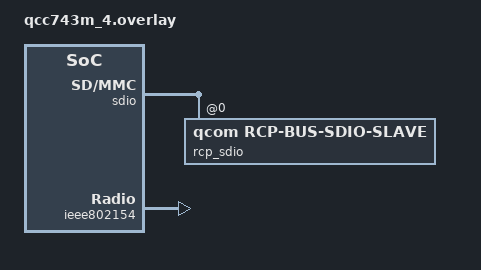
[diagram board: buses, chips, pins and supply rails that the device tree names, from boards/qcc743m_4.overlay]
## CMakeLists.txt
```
# Copyright (c) Qualcomm Technologies, Inc. and/or its subsidiaries.
# SPDX-License-Identifier: BSD-3-Clause-Clear

cmake_minimum_required(VERSION 3.20.0)

# Local rcp_protocol module
set(EXTRA_ZEPHYR_MODULES
    ${CMAKE_CURRENT_LIST_DIR}/../../../rcp_protocol
)

find_package(Zephyr REQUIRED HINTS $ENV{ZEPHYR_BASE})


project(rcp_app)

target_sources(app PRIVATE
    src/main.c
    src/vserial_shell.c
)

target_include_directories(app PRIVATE
    ${CMAKE_CURRENT_LIST_DIR}/../../drivers/qualcomm_rcp_vserial
)

if (CONFIG_QUALCOMM_RCP_APP_VSERIAL_LOG)
target_sources(app PRIVATE
    src/rcp_vserial_log_backend.c
)
endif()

if (CONFIG_BT)
target_sources(app PRIVATE
    src/proxy_bt.c
)
endif()

if (CONFIG_WIFI)
target_sources(app PRIVATE
    src/proxy_wifi_data.c
    src/proxy_wifi_mgmt.c
)

list(APPEND CMAKE_MODULE_PATH ${ZEPHYR_BASE}/modules/nanopb)
include(nanopb)

# Protobuf for RCP WiFi management
zephyr_nanopb_sources(app ${ZEPHYR_RCP_PROTOCOL_MODULE_DIR}/proto/wifi_mgmt.proto)

endif()

if ((NOT CONFIG_NET_DHCPV4) AND CONFIG_WIFI_OPAL)
target_sources(app PRIVATE
    src/dhcp_stub.c
)
endif()
```

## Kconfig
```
# Copyright (c) Qualcomm Technologies, Inc. and/or its subsidiaries.
# SPDX-License-Identifier: BSD-3-Clause-Clear

mainmenu "Qualcomm RCP application"

module = QUALCOMM_RCP_APP
module-str = qualcomm_rcp_app
source "subsys/logging/Kconfig.template.log_config"

source "Kconfig.zephyr"

config USE_DUMMY_WIFI_MGMT_DATA
    bool "Use dummy WiFi management data for unsupported requests"
    default n
    help
      Respond to WiFi management requests that are unsupported by the driver
      with dummy data for testing purposes.

config INCLUDE_TRANSPORT_TESTS
    bool "Include RCP transport tests for validation"
    default n
    help
    Include transport validation tests

config QUALCOMM_RCP_APP_VSERIAL_LOG
	bool "Mirror Zephyr logs to RCP VSerial stream"
	default n
	depends on LOG
	depends on QUALCOMM_RCP_VSERIAL_UART
	select LOG_OUTPUT
	help
	  Enable a minimal logging backend that forwards runtime LOG_* output
	  over RCP virtual serial. VSerial port 0 is reserved for log forwarding.

config QUALCOMM_RCP_APP_VSERIAL_LOG_PORT
	int "VSerial port used for log forwarding"
	range 0 3
	default 0
	depends on QUALCOMM_RCP_APP_VSERIAL_LOG
	help
	  RCP virtual serial port index used by the log backend.

config QUALCOMM_RCP_APP_VSERIAL_LOG_LINE_MAX
	int "Maximum formatted log chunk size"
	range 64 1024
	default 256
	depends on QUALCOMM_RCP_APP_VSERIAL_LOG
	help
	  Internal line buffer size used while formatting log messages for VSerial.

config QUALCOMM_RCP_APP_VSERIAL_LOG_DROP_WHEN_BUSY
	bool "Drop VSerial log output when link is congested"
	default y
	depends on QUALCOMM_RCP_APP_VSERIAL_LOG
	help
	  Use best-effort non-blocking log forwarding and drop log payload when
	  VSerial TX buffers are not immediately available.

config QUALCOMM_RCP_APP_VSERIAL_LOG_DUPLICATE_TO_PHYS_UART
	bool "Duplicate VSerial logs to physical UART console"
	default n
	depends on QUALCOMM_RCP_APP_VSERIAL_LOG
	help
	  If enabled, data emitted to the VSerial log backend is also mirrored to
	  the Zephyr console UART. Keep this disabled during initial bring-up.

config QUALCOMM_RCP_INIT_PRIORITY
	int "Init priority of RCP initialization"
	default 90
	help
	  Initialization priority of rcp_init() function. Can be used to ensure
	  correct order of initialization of RCP resources. RCP is initialized
	  at POST_KERNEL level.
```

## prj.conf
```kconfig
# Copyright (c) Qualcomm Technologies, Inc. and/or its subsidiaries.
# SPDX-License-Identifier: BSD-3-Clause-Clear

# Bluetooth disabled by default
CONFIG_BT=n

# WiFi co-processor configuration

# Generic networking options
CONFIG_NETWORKING=y
CONFIG_NET_UDP=n
CONFIG_NET_TCP=n
CONFIG_NET_IPV6=n
CONFIG_NET_IPV4=n
CONFIG_NET_MAX_CONTEXTS=5
CONFIG_NET_SOCKETS=y
CONFIG_POSIX_API=y
CONFIG_NET_CONTEXT_RCVTIMEO=y
CONFIG_NET_MGMT=y
CONFIG_NET_MGMT_EVENT=y
CONFIG_NET_SOCKETS_PACKET=y

CONFIG_NET_BUF_POOL_USAGE=y
CONFIG_NET_BUF_LOG=y

# Network thread stacks
CONFIG_NET_TX_STACK_SIZE=1024
CONFIG_NET_RX_STACK_SIZE=1024

# Kernel options
CONFIG_MAIN_STACK_SIZE=4096
CONFIG_SYSTEM_WORKQUEUE_STACK_SIZE=512
CONFIG_DYNAMIC_THREAD=y
CONFIG_DYNAMIC_THREAD_ALLOC=y
CONFIG_DYNAMIC_THREAD_PREFER_POOL=y
CONFIG_THREAD_RUNTIME_STATS=y
CONFIG_THREAD_RUNTIME_STATS_USE_TIMING_FUNCTIONS=y


# Compiler optimizations
CONFIG_DEBUG=y
CONFIG_DEBUG_OPTIMIZATIONS=n

# Compiler warning configuration
CONFIG_COMPILER_WARNINGS_AS_ERRORS=y

# Thread info & monitoring
CONFIG_THREAD_STACK_INFO=y
CONFIG_THREAD_MONITOR=y
CONFIG_THREAD_NAME=y
CONFIG_THREAD_CUSTOM_DATA=y
CONFIG_INIT_STACKS=y

# Heap
CONFIG_HEAP_MEM_POOL_SIZE=30720
CONFIG_SHARED_MULTI_HEAP=y

# Network buffers
CONFIG_NET_CONTEXT_NET_PKT_POOL=y
CONFIG_NET_PKT_RX_COUNT=16
CONFIG_NET_PKT_TX_COUNT=16
CONFIG_NET_BUF_RX_COUNT=16
CONFIG_NET_BUF_TX_COUNT=16
CONFIG_NET_BUF_DATA_SIZE=1514

# Logging
CONFIG_LOG=y
CONFIG_NET_LOG=y
CONFIG_NET_BUF_LOG=y
CONFIG_NET_STATISTICS=y
CONFIG_PRINTK=y

CONFIG_NET_SOCKETS_LOG_LEVEL_DBG=n
CONFIG_NET_CONTEXT_LOG_LEVEL_DBG=n
CONFIG_NET_CORE_LOG_LEVEL_DBG=n
CONFIG_NET_CONN_LOG_LEVEL_DBG=n
CONFIG_NET_IF_LOG_LEVEL_DBG=n
CONFIG_NET_L2_ETHERNET_LOG_LEVEL_DBG=n
CONFIG_ETHERNET_LOG_LEVEL_DBG=n
CONFIG_NET_PKT_LOG_LEVEL_ERR=n

CONFIG_QUALCOMM_RCP_BUS_LOG_LEVEL_DBG=n
CONFIG_QUALCOMM_RCP_PROTOCOL_LOG_LEVEL_DBG=n

# Shell
CONFIG_SHELL_STACK_SIZE=4096
CONFIG_KERNEL_SHELL=y
CONFIG_STATS=y
CONFIG_STATS_SHELL=y
CONFIG_THREAD_RUNTIME_STATS=y
CONFIG_THREAD_RUNTIME_STATS_USE_TIMING_FUNCTIONS=y

CONFIG_NET_SHELL=y
CONFIG_NET_L2_WIFI_SHELL=y
CONFIG_OPAL_WIFI_SHELL=n
CONFIG_NET_BUF_POOL_USAGE=y

# RCP protocol
CONFIG_QUALCOMM_RCP_PROTOCOL_NUM_BUFFERS=27
CONFIG_QUALCOMM_RCP_RCP_MAX_TX_EVENTS=24
# Suppress sequence number checks
CONFIG_QUALCOMM_RCP_SEQ_NUM_ACK_WINDOW=7
CONFIG_QUALCOMM_RCP_PROTOCOL_BUFFER_SIZE=1600
CONFIG_QUALCOMM_RCP_BUS_DRIVERS=y
# Optional single-channel VSerial log backend
CONFIG_QUALCOMM_RCP_APP_VSERIAL_LOG=y
CONFIG_QUALCOMM_RCP_APP_VSERIAL_LOG_PORT=0
CONFIG_QUALCOMM_RCP_APP_VSERIAL_LOG_LINE_MAX=256
CONFIG_QUALCOMM_RCP_APP_VSERIAL_LOG_DROP_WHEN_BUSY=y
CONFIG_QUALCOMM_RCP_APP_VSERIAL_LOG_DUPLICATE_TO_PHYS_UART=n
# Use dummy data for testing
CONFIG_USE_DUMMY_WIFI_MGMT_DATA=n
# Build transport test code
CONFIG_INCLUDE_TRANSPORT_TESTS=y

# Initalization order
CONFIG_QUALCOMM_RCP_INIT_PRIORITY=80
# Needs to be higher priority than NET_INIT_PRIO (90)
CONFIG_IEEE802154_OPAL_INIT_PRIO=89
CONFIG_QUALCOMM_RCP_VSERIAL_INIT_PRIORITY=85

# Keep deferred logging but trim RAM usage for qcc743 WiFi profile.
CONFIG_LOG_RUNTIME_FILTERING=n
CONFIG_LOG_PROCESS_THREAD_STACK_SIZE=2048
CONFIG_LOG_BUFFER_SIZE=1000
# WiFi & L2 drivers
CONFIG_WIFI=y
CONFIG_WIFI_OPAL=y
CONFIG_OPAL_WIFI_AP_STA_MODE=y
CONFIG_NET_L2_ETHERNET=y
CONFIG_ETH_DRIVER=y
CONFIG_ETH_PHY_DRIVER=y

# Management
CONFIG_WIFI_NM=y
CONFIG_WIFI_NM_MAX_MANAGED_INTERFACES=2
CONFIG_NET_MGMT_EVENT_QUEUE_SIZE=8
CONFIG_NET_MGMT_EVENT_STACK_SIZE=2560

# mbedTLS
CONFIG_ENTROPY_GENERATOR=y
CONFIG_MBEDTLS=y
CONFIG_MBEDTLS_TLS_VERSION_1_2=y
CONFIG_MBEDTLS_DTLS=y
CONFIG_MBEDTLS_SSL_ALPN=y
CONFIG_MBEDTLS_DEBUG=y
CONFIG_MBEDTLS_CIPHER_AES_ENABLED=y
CONFIG_MBEDTLS_CIPHER_CCM_ENABLED=y
CONFIG_MBEDTLS_CIPHER_GCM_ENABLED=y
CONFIG_MBEDTLS_CIPHER_MODE_CBC_ENABLED=y
CONFIG_MBEDTLS_CIPHER_MODE_CTR_ENABLED=y
CONFIG_MBEDTLS_CIPHER_DES_ENABLED=y
CONFIG_MBEDTLS_AES_ROM_TABLES=y
CONFIG_MBEDTLS_GENPRIME_ENABLED=y
CONFIG_MBEDTLS_DHM_C=y
CONFIG_MBEDTLS_HMAC_DRBG_ENABLED=y
CONFIG_MBEDTLS_CTR_DRBG_ENABLED=y
CONFIG_MBEDTLS_ENTROPY_C=y
CONFIG_MBEDTLS_MD=y
CONFIG_MBEDTLS_MD5=y
CONFIG_MBEDTLS_SHA1=y
CONFIG_MBEDTLS_SHA256=y
CONFIG_MBEDTLS_SHA512=y
CONFIG_MBEDTLS_CMAC=y
CONFIG_MBEDTLS_ECDH_C=y
CONFIG_MBEDTLS_ECDSA_C=y
CONFIG_MBEDTLS_ECP_C=y
CONFIG_MBEDTLS_ECP_DP_SECP256R1_ENABLED=y
CONFIG_MBEDTLS_ECP_NIST_OPTIM=y
CONFIG_MBEDTLS_KEY_EXCHANGE_PSK_ENABLED=y
CONFIG_MBEDTLS_KEY_EXCHANGE_RSA_ENABLED=y
CONFIG_MBEDTLS_KEY_EXCHANGE_RSA_PSK_ENABLED=y
CONFIG_MBEDTLS_KEY_EXCHANGE_DHE_RSA_ENABLED=y
CONFIG_MBEDTLS_KEY_EXCHANGE_DHE_PSK_ENABLED=y
CONFIG_MBEDTLS_KEY_EXCHANGE_ECDHE_RSA_ENABLED=y
CONFIG_MBEDTLS_KEY_EXCHANGE_ECDHE_ECDSA_ENABLED=y
CONFIG_MBEDTLS_KEY_EXCHANGE_ECDH_ECDSA_ENABLED=y
CONFIG_MBEDTLS_KEY_EXCHANGE_ECDH_RSA_ENABLED=y
CONFIG_MBEDTLS_KEY_EXCHANGE_ECDHE_PSK_ENABLED=y
CONFIG_MBEDTLS_PEM_CERTIFICATE_FORMAT=y

# RCP encryption and prerequisites.
# The PSA API algorithms will be automatically selected.
# By default only WiFi management messages are encrypted.
CONFIG_MBEDTLS_PSA_CRYPTO_C=y
CONFIG_QUALCOMM_RCP_ENCRYPTION=y

# Use hardware entropy
CONFIG_MBEDTLS_PSA_CRYPTO_EXTERNAL_RNG=y
CONFIG_ENTROPY_GENERATOR=y

# mbedTLS heap
CONFIG_MBEDTLS_ENABLE_HEAP=y
CONFIG_MBEDTLS_HEAP_SIZE=4096

# Nanopb
CONFIG_NANOPB=y
```

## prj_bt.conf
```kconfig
# Copyright (c) Qualcomm Technologies, Inc. and/or its subsidiaries.
# SPDX-License-Identifier: BSD-3-Clause-Clear

# Bluetooth HCI co-processor configuration
CONFIG_BT=y
CONFIG_BT_HCI_RAW=y
CONFIG_WIFI=n
CONFIG_WIFI_NM=n
CONFIG_QUALCOMM_RCP_ENCRYPTION=n
CONFIG_MBEDTLS_PSA_CRYPTO_C=n
CONFIG_QUALCOMM_RCP_APP_VSERIAL_LOG=n
```

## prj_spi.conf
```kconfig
# Copyright (c) Qualcomm Technologies, Inc. and/or its subsidiaries.
# SPDX-License-Identifier: BSD-3-Clause-Clear

CONFIG_SPI=y
CONFIG_SPI_OPAL=y
CONFIG_SPI_OPAL_DMA=y
CONFIG_SPI_SLAVE=y
CONFIG_QUALCOMM_RCP_DEFAULT_BUS_SPI=y
```

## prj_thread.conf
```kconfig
# Copyright (c) Qualcomm Technologies, Inc. and/or its subsidiaries.
# SPDX-License-Identifier: BSD-3-Clause-Clear

CONFIG_WIFI=n
CONFIG_WIFI_NM=n
CONFIG_QUALCOMM_RCP_ENCRYPTION=n
CONFIG_MBEDTLS_PSA_CRYPTO_C=n

CONFIG_NETWORKING=y
CONFIG_NET_L2_OPENTHREAD=y
CONFIG_NET_IPV6=y

# Disable certain parts of Zephyr IPv6 stack
CONFIG_NET_IPV6_NBR_CACHE=n
CONFIG_NET_IPV6_MLD=n

# Use NVS as settings backend
CONFIG_NVS=y

# Set OpenThread NCP architecture
CONFIG_OPENTHREAD_COPROCESSOR=y
CONFIG_OPENTHREAD_COPROCESSOR_RCP=y

CONFIG_NET_PKT_RX_COUNT=8
CONFIG_NET_PKT_TX_COUNT=8
```

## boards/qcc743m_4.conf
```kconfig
# Copyright (c) Qualcomm Technologies, Inc. and/or its subsidiaries.
# SPDX-License-Identifier: BSD-3-Clause-Clear

CONFIG_SDIO=y
CONFIG_SDIO_OPAL=y
```

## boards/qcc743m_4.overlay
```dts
/*
 * Copyright (c) 2025 Qualcomm Technologies, Inc. and/or its subsidiaries
 *
 * SPDX-License-Identifier: Apache-2.0
 */

&pinctrl {
    status = "okay";
    sdio_default: sdio_default {
        group1 {
			pinmux = <GPIO14_SDIO_DAT0>,
				<GPIO15_SDIO_DAT1>,
				<GPIO10_SDIO_DAT2>,
				<GPIO11_SDIO_DAT3>,
                <GPIO12_SDIO_CMD>,
                <GPIO13_SDIO_CLK>;
            bias-pull-up;
            drive-strength = <1>;
            input-enable;
            input-schmitt-enable;
        };
    };

    spi_default: spi_default {
        group1 {
            pinmux = <GPIO27_SPI_MOSI>,
                <GPIO28_SPI_SS>,
                <GPIO29_SPI_SCLK>,
                <GPIO30_SPI_MISO>;
            drive-strength = <1>;
            input-enable;
            input-schmitt-enable;
        };
    };
};

&sdio {
	status = "okay";
    pinctrl-0 = <&sdio_default>;
    pinctrl-names = "default";
    #address-cells = <1>;
    #size-cells = <0>;
    download-size-max = <1600>;
    rcp_sdio: rcp@0 {
        status = "okay";
        compatible = "qcom,rcp-bus-sdio-slave";
        reg = <0>;
    };
};

/ {
	aliases {
		rcp-vserial0 = &rcp_virt_uart0;
        rcp-vserial1 = &rcp_virt_uart1;
	};

	chosen {
		zephyr,ot-uart = &rcp_virt_uart1;
	};

	rcp_virt_uart0: rcp_virt_uart0 {
		compatible = "qcom,rcp-vserial-uart";
		port = <0>;
		status = "okay";
	};
    rcp_virt_uart1: rcp_virt_uart1 {
		compatible = "qcom,rcp-vserial-uart";
		port = <1>;
		status = "okay";
	};
};

&ieee802154 {
    status = "okay";
};

&dma {
    status = "okay";
};
```

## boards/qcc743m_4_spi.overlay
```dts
/*
 * Copyright (c) Qualcomm Technologies, Inc. and/or its subsidiaries.
 *
 * SPDX-License-Identifier: BSD-3-Clause-Clear
 */

&rcp_sdio {
    status = "disabled";
};

&spi0 {
    status = "okay";
    pinctrl-0 = <&spi_default>;
    pinctrl-names = "default";
    #address-cells = <1>;
    #size-cells = <0>;
    /* Use GPIO1 (Pin_2) for chip RDY signal. */
    rdy-gpios = <&gpio0 1 (GPIO_ACTIVE_LOW | GPIO_PULL_UP)>;

    rcp_spi: rcp@0 {
        status = "okay";
        compatible = "qcom,rcp-bus-spi-slave";
        reg = <0>;
        /* Use GPIO3 (Pin_4) for IRQ. */
        irq-gpios = <&gpio0 3 (GPIO_ACTIVE_LOW | GPIO_PULL_UP)>;
    };
};
```

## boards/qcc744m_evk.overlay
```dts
               /*
 * Copyright (c) 2025 Qualcomm Technologies, Inc. and/or its subsidiaries
 *
 * SPDX-License-Identifier: Apache-2.0
 */

&pinctrl {
    status = "okay";
    sdio_default: sdio_default {
        group1 {
			pinmux = <GPIO14_SDIO_DAT0>,
				<GPIO15_SDIO_DAT1>,
				<GPIO10_SDIO_DAT2>,
				<GPIO11_SDIO_DAT3>,
                <GPIO12_SDIO_CMD>,
                <GPIO13_SDIO_CLK>;
            bias-pull-up;
            drive-strength = <1>;
            input-enable;
            input-schmitt-enable;
        };
    };
};

&sdio {
	status = "okay";
    pinctrl-0 = <&sdio_default>;
    pinctrl-names = "default";
    #address-cells = <1>;
    #size-cells = <0>;
    download-size-max = <2048>;
    rcp: rcp@0 {
        status = "okay";
        compatible = "qcom,rcp-bus-sdio-slave";
        reg = <0>;
    };
};

/ {

	chosen {
		zephyr,ot-uart = &rcp_virt_uart1;
	};

	aliases {
		rcp-vserial0 = &rcp_virt_uart0;
		rcp-vserial1 = &rcp_virt_uart1;
	};

	rcp_virt_uart0: rcp_virt_uart0 {
		compatible = "qcom,rcp-vserial-uart";
		port = <0>;
		status = "okay";
	};

	rcp_virt_uart1: rcp_virt_uart1 {
		compatible = "qcom,rcp-vserial-uart";
		port = <1>;
		status = "okay";
	};
};


&uart1 {
	status = "okay";
};
```

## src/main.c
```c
/*
 * Copyright (c) Qualcomm Technologies, Inc. and/or its subsidiaries.
 *
 * SPDX-License-Identifier: BSD-3-Clause-Clear
 */

#include <stdint.h>
#include <zephyr/devicetree.h>
#include <zephyr/logging/log.h>
#include <zephyr/net/net_if.h>

#ifdef CONFIG_NET_L2_OPENTHREAD
#include <zephyr/net/openthread.h>
#endif

#include <rcp_interface_impl.h>
#include <rcp_cntrl_msgs.h>
#include <rcp_encryption.h>
#include <rcp_config.h>

#include "proxy_bt.h"
#include "proxy_wifi_data.h"
#include "proxy_wifi_mgmt.h"
#include "vserial_shell.h"

LOG_MODULE_REGISTER(rcp_app, CONFIG_QUALCOMM_RCP_APP_LOG_LEVEL);

#define RCP_VSERIAL_PORT_COUNT DT_NUM_INST_STATUS_OKAY(qcom_rcp_vserial_uart)
#define RCP_INIT_PRIORITY CONFIG_QUALCOMM_RCP_INIT_PRIORITY

static int sys_init_rcp()
{
	(void)init_rcp();
	return 0;
}

/* Initialize RCP early (specifically before vserial & ieee802154) so
 * that other drivers can access RCP resources.
 * Note that messages will not be processed until event_loop() starts.
 */
SYS_INIT(sys_init_rcp, POST_KERNEL, RCP_INIT_PRIORITY);

#ifdef CONFIG_NET_L2_OPENTHREAD

static void bring_up_ot_iface(void)
{
	struct net_if *iface;
	int ret;

	iface = net_if_get_first_by_type(&NET_L2_GET_NAME(OPENTHREAD));
	if (iface == NULL) {
		LOG_WRN("OpenThread net_if not found");
		return;
	}

	ret = net_if_up(iface);
	if (ret < 0 && ret != -EALREADY) {
		LOG_ERR("Failed to bring OpenThread iface up (%d)", ret);
		return;
	}

	LOG_INF("OpenThread iface is up");
}
#endif

int main(void)
{
	uint8_t capabilities = 0;

#ifdef CONFIG_BT
	if (!proxy_bt_init()) {
		LOG_ERR("Failed to initialize BT proxy");
		return 0;
	}
	capabilities |= RCP_BT_CAPABILITY_FLAG;
#endif
#ifdef CONFIG_WIFI
	if (!proxy_wifi_mgmt_init()) {
		LOG_ERR("Failed to initialize Wi-Fi proxy");
		return 0;
	}
	if (!proxy_wifi_data_init()) {
		LOG_ERR("Failed to initialize Wi-Fi proxy");
		return 0;
	}
	capabilities |= RCP_WIFI_CAPABILITY_FLAG;
#endif
	uint8_t port_count = RCP_VSERIAL_PORT_COUNT;

#ifdef CONFIG_NET_L2_OPENTHREAD
	/* One of the ports is reserved for Thread.
	* TODO: Make sure that ports are continous, especially if they
	* are reserved for some technology.
	*/
	if (RCP_STREAM_THREAD_USE_VSERIAL) {
		port_count -= 1;
	}
	bring_up_ot_iface();
	capabilities |= RCP_THREAD_CAPABILITY_FLAG;
#endif
	init_mcu_capability(capabilities);
	init_mcu_vserial_port_count(port_count);
	vserial_shell_init();
	/* Run link event loop. */
	run_event_loop();
}
```

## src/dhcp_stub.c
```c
/*
 * Copyright (c) Qualcomm Technologies, Inc. and/or its subsidiaries.
 *
 * SPDX-License-Identifier: BSD-3-Clause-Clear
 */

/* The precompiled Wi-Fi driver for QCC74x depends on auto DHCP negotiation
 * to finalize Wi-Fi connection.
 * To turn off DHCPV4 and all IP stack we need to:
 * - provide net_dhcpv4_start/stop stubs for the driver.
 * - emit a fake NET_EVENT_IPV4_DHCP_BOUND event.
 *
 * With this we can use the driver interface for sending / receiving raw
 * ethernet packets with IP stack fully disabled on the MCU side.
 */

#include <zephyr/net/net_mgmt.h>
#include <zephyr/net/dhcpv4.h>

void net_dhcpv4_start(struct net_if *iface)
{
	net_mgmt_event_notify(NET_EVENT_IPV4_DHCP_BOUND, iface);
}

void net_dhcpv4_stop(struct net_if *iface)
{
	return;
}
```

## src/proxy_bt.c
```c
/*
 * Copyright (c) Qualcomm Technologies, Inc. and/or its subsidiaries.
 *
 * SPDX-License-Identifier: BSD-3-Clause-Clear
 */

#include <zephyr/kernel.h>
#include <zephyr/logging/log.h>
#include <zephyr/net_buf.h>
#include <zephyr/bluetooth/hci_raw.h>
#include <zephyr/bluetooth/hci_types.h>
#include <zephyr/bluetooth/buf.h>

#include <rcp_interface.h>
#include <rcp_interface_impl.h>

#include "proxy_bt.h"

#define BT_RX_THREAD_STACK_SIZE 1024
#define LINK_MAX_MSG_SIZE 500

LOG_MODULE_REGISTER(proxy_bt, CONFIG_QUALCOMM_RCP_APP_LOG_LEVEL);

static K_FIFO_DEFINE(rx_queue);

static K_THREAD_STACK_DEFINE(bt_rx_thread_stack, BT_RX_THREAD_STACK_SIZE);
static struct k_thread bt_rx_thread_data;
static k_tid_t rx_tid;

/* BT -> Host */
static bool link_send_bt_packet(struct net_buf *buf);
static void bt_rx_thread(void *p1, void *p2, void *p3);
/* Host -> BT */
static uint8_t handle_rcp_msg(enum rcp_rx_status status, rcp_buffer_hdl_t *payload_ptr, rcp_error_info_t *err_info_ptr);

bool proxy_bt_init(void)
{
	int ret;

	register_data_msg_handler(RCP_STREAM_BT, handle_rcp_msg);

	ret = bt_enable_raw(&rx_queue);
	if (ret) {
		LOG_ERR("Failed to enable BT raw mode: %d", ret);
		return false;
	}

	rx_tid = k_thread_create(&bt_rx_thread_data, bt_rx_thread_stack,
		K_THREAD_STACK_SIZEOF(bt_rx_thread_stack),
		bt_rx_thread, NULL, NULL, NULL, K_PRIO_COOP(8),
		0, K_NO_WAIT);

	k_thread_name_set(&bt_rx_thread_data, "bt_proxy_rx");

	return true;
}

static bool link_send_bt_packet(struct net_buf *buf)
{
    	rcp_buffer_hdl_t* msg_buffer;

	switch (bt_buf_get_type(buf)) {
	case BT_BUF_ACL_IN:
		net_buf_push_u8(buf, BT_HCI_H4_ACL);
		break;
	case BT_BUF_EVT:
		net_buf_push_u8(buf, BT_HCI_H4_EVT);
		break;
	default:
		LOG_ERR("Unknown packet from BT ctrl: %u", bt_buf_get_type(buf));
		net_buf_unref(buf);
		return false;
	}

	msg_buffer = get_buffer(LINK_MAX_MSG_SIZE);
	if (msg_buffer == NULL) {
		LOG_WRN("Failed to get buffer for upload");
		return false;
	}
	/* TODO: RCP should allow to prepare msg_buffer without allocation. */
	write_to_buffer(msg_buffer, buf->data, buf->len);

	if (RCP_LNK_SUCCESS != link_send(RCP_STREAM_BT, msg_buffer)) {
		LOG_ERR("Failed to send BT HCI packet over link");
		/* link_send() did not take ownership on failure */
		release_buffer(&msg_buffer);
		net_buf_unref(buf);
		return false;
	}

	net_buf_unref(buf);
	return true;
}

static uint8_t handle_rcp_msg(enum rcp_rx_status status, rcp_buffer_hdl_t *payload_ptr, rcp_error_info_t *err_info_ptr)
{
	struct net_buf *buf = NULL;
	int ret;
	uint8_t h4_type;

	union {
		struct bt_hci_cmd_hdr *cmd_hdr;
		struct bt_hci_acl_hdr *acl_hdr;
	} hci_hdr;

	/* Process message. */
	h4_type = payload_ptr->data_ptr[0];

	/* Get header. */
	hci_hdr.cmd_hdr = (struct bt_hci_cmd_hdr *)&payload_ptr->data_ptr[1];

	switch (h4_type) {
	case BT_HCI_H4_CMD:
		buf = bt_buf_get_tx(BT_BUF_CMD, K_NO_WAIT, hci_hdr.cmd_hdr,
				sizeof(*hci_hdr.cmd_hdr));
		if (buf) {
			net_buf_add_mem(buf, &payload_ptr->data_ptr[4],
					hci_hdr.cmd_hdr->param_len);
		} else {
			LOG_ERR("BT CMD buffers not available");
			return RCP_RX_ACK;
		}
		break;
	case BT_HCI_H4_ACL:
		buf = bt_buf_get_tx(BT_BUF_ACL_OUT, K_NO_WAIT, hci_hdr.acl_hdr,
				sizeof(*hci_hdr.acl_hdr));
		if (buf) {
			net_buf_add_mem(buf, &payload_ptr->data_ptr[5],
					hci_hdr.acl_hdr->len);
		} else {
			LOG_ERR("BT ACL buffers not available");
			return RCP_RX_ACK;
		}
		break;
	default:
		LOG_ERR("Unknown BT HCI packet: %d", h4_type);
		return RCP_RX_ACK;
	}
	ret = bt_send(buf);

	if (ret) {
		LOG_ERR("Unable to send BT packet: %d", ret);
		net_buf_unref(buf);
	}

	return RCP_RX_ACK;
}

static void bt_rx_thread(void *p1, void *p2, void *p3)
{
	struct net_buf *buf;
	while(true) {
		buf = k_fifo_get(&rx_queue, K_FOREVER);
		LOG_HEXDUMP_DBG(buf->data, buf->len, "BT CTRL data");
		link_send_bt_packet(buf);
		k_yield();
	}
}
```

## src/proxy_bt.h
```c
/*
 * Copyright (c) Qualcomm Technologies, Inc. and/or its subsidiaries.
 *
 * SPDX-License-Identifier: BSD-3-Clause-Clear
 */

#ifndef __PROXY_BT_H__
#define __PROXY_BT_H__

#include <stdbool.h>

bool proxy_bt_init(void);

#endif /* __PROXY_BT_H__ */
```

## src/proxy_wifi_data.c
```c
/*
 * Copyright (c) Qualcomm Technologies, Inc. and/or its subsidiaries.
 *
 * SPDX-License-Identifier: BSD-3-Clause-Clear
 */

#include <zephyr/logging/log.h>

#include <zephyr/kernel.h>

#include <zephyr/net/ethernet.h>
#include <zephyr/net/net_context.h>
#include <zephyr/net/net_if.h>
#include <zephyr/net/net_pkt.h>
#include <zephyr/net/socket.h>
#include <zephyr/net/wifi_mgmt.h>
#include <stdint.h>

#include "rcp_mux_dispatcher.h"
#include <rcp_interface.h>
#include <rcp_interface_impl.h>
#include <buffer_mgmt.h>

#include "proxy_wifi_data.h"

#define RX_THREAD_PRIO       K_PRIO_COOP(15)
#define RX_THREAD_STACK_SIZE 1024
/* Max. Ethernet frame + 2-byte Wi-Fi stream header. */
#define RX_ETH_FRAME_SIZE    1514
#define RX_BUF_SIZE          (RX_ETH_FRAME_SIZE + PROXY_WIFI_DATA_HDR_SIZE)

/* Determines delay between subsequent tries in case of TX failure. */
#define RCP_TX_ERR_DELAY_MS   1
/* Amount of retries in case of RCP TX failure. */
#define RCP_TX_RETRIES        5
/* TX completion wait timeout (ms) for net_context send callback. */
#define WIFI_TX_CB_TIMEOUT_MS 1
/* Amount of retries in case of Wi-Fi TX failure. */
#define WIFI_TX_RETRIES       3

LOG_MODULE_REGISTER(wifi_data_proxy, CONFIG_QUALCOMM_RCP_APP_LOG_LEVEL);

/* ---- host->wifi TX path selector ----
 *   0 = BLOCKING: net_context_sendto + per-frame synchronous completion wait
 *                 (original standard net_context path)
 *   1 = DIRECT  : bypass socket/net_context/L2, call the WiFi driver's .send
 *                 (qwifi_drv_send) directly with a locally-built net_pkt.
 *                 Skips ~182us/frame of net_context/L2 wrapper; reaches the
 *                 ~21 Mbps QcSPI ceiling on clean air.
 */
#define RCP_TX_MODE_BLOCKING  0
#define RCP_TX_MODE_DIRECT    1

#ifndef RCP_TX_MODE
#define RCP_TX_MODE RCP_TX_MODE_DIRECT
#endif

/* ---- wifi->host RX path selector ----
 *   0 = NETSTACK: driver net_recv_data -> ethernet L2 -> AF_PACKET socket ->
 *                 wifi_rx_cb -> rx_fifo -> wifi_rx_thread (original path).
 *   1 = DIRECT  : driver rx cb hands the frame straight to
 *                 proxy_wifi_data_rx_direct(), which builds the RCP frame and
 *                 calls link_send() in the Wi-Fi RX thread context. Skips
 *                 net_pkt alloc (the ~510us pool-starvation stall), the net
 *                 stack (~190us) and one full-frame copy. Mirror of TX DIRECT.
 */
#define RCP_RX_MODE_NETSTACK  0
#define RCP_RX_MODE_DIRECT    1

#ifndef RCP_RX_MODE
#define RCP_RX_MODE RCP_RX_MODE_DIRECT
#endif

static struct net_context *sta_ctx;
static struct net_context *ap_ctx;
static K_FIFO_DEFINE(rx_fifo);
static K_MUTEX_DEFINE(tx_lock);
static K_MUTEX_DEFINE(ctx_lock);
#if (RCP_TX_MODE == RCP_TX_MODE_BLOCKING)
static K_SEM_DEFINE(tx_sem, 0, 1);
static int tx_status = 0;
#endif

static void wifi_rx_thread(void *p1, void *p2, void *p3);
static bool init_ctx(struct net_context **ctx, struct net_if *iface);
static bool ensure_ctx_bound_locked(uint8_t iface_index);
static struct net_if *get_iface_by_index(uint8_t iface_index);
#if (RCP_TX_MODE == RCP_TX_MODE_BLOCKING)
static struct net_context *get_ctx_locked(uint8_t iface_index);
static int get_ifindex_by_iface_index(uint8_t iface_index);
#endif
static uint8_t get_iface_index_by_iface(const struct net_if *iface);
static uint8_t normalize_iface_index(uint8_t iface_index);
static uint8_t handle_data_msg(enum rcp_rx_status status, rcp_buffer_hdl_t *payload_ptr,
			       rcp_error_info_t *err_info_ptr);
static void wifi_rx_cb(struct net_context *ctx, struct net_pkt *pkt, union net_ip_header *ip_hdr,
		       union net_proto_header *proto_hdr, int status, void *user_data);
#if (RCP_TX_MODE == RCP_TX_MODE_BLOCKING)
static void wifi_tx_cb(struct net_context *ctx, int status, void *user_data);
#endif
#if (RCP_RX_MODE == RCP_RX_MODE_DIRECT)
/* Called directly (extern) from the wifi driver's rx callback. */
int proxy_wifi_data_rx_direct(uint8_t iface_idx, const uint8_t *frame, uint16_t len);
#endif

static struct k_thread wifi_rx_thread_data;
static k_tid_t wifi_rx_tid;

/* ---- Per-frame Ethernet trace (ARP/DHCP/ICMP) ----
 * Default OFF. Enable by setting RCP_ETH_TRACE_RX/TX to 1.
 */
#ifndef RCP_ETH_TRACE_SUPPORT
#define RCP_ETH_TRACE_SUPPORT 1
#endif

#ifndef RCP_ETH_TRACE_RX
#define RCP_ETH_TRACE_RX 0
#endif

#ifndef RCP_ETH_TRACE_TX
#define RCP_ETH_TRACE_TX 0
#endif

static struct net_if *get_sta_iface(void)
{
	return net_if_get_wifi_sta();
}

static struct net_if *get_ap_iface(void)
{
	return net_if_get_wifi_sap();
}

static uint8_t normalize_iface_index(uint8_t iface_index)
{
	/* Backward compatibility: iface_index=0 means STA. */
	if (iface_index == 0U) {
		return PROXY_WIFI_IFACE_STA;
	}
	return iface_index;
}

static struct net_if *get_iface_by_index(uint8_t iface_index)
{
	iface_index = normalize_iface_index(iface_index);
	if (iface_index == PROXY_WIFI_IFACE_AP) {
		return get_ap_iface();
	}
	return get_sta_iface();
}

#if (RCP_TX_MODE == RCP_TX_MODE_BLOCKING)
static int get_ifindex_by_iface_index(uint8_t iface_index)
{
	struct net_if *iface = get_iface_by_index(iface_index);

	if (!iface) {
		return -1;
	}

	return net_if_get_by_iface(iface);
}
#endif

static uint8_t get_iface_index_by_iface(const struct net_if *iface)
{
	if (!iface) {
		return PROXY_WIFI_IFACE_STA;
	}
	if (iface == get_ap_iface()) {
		return PROXY_WIFI_IFACE_AP;
	}
	if (iface == get_sta_iface()) {
		return PROXY_WIFI_IFACE_STA;
	}

	LOG_WRN("RX: unknown iface %p, defaulting to STA", iface);
	return PROXY_WIFI_IFACE_STA;
}

#if (RCP_TX_MODE == RCP_TX_MODE_BLOCKING)
static struct net_context *get_ctx_locked(uint8_t iface_index)
{
	iface_index = normalize_iface_index(iface_index);
	if (iface_index == PROXY_WIFI_IFACE_AP) {
		return ap_ctx;
	}
	return sta_ctx;
}
#endif

static bool ensure_ctx_bound_locked(uint8_t iface_index)
{
	struct net_context **ctx = NULL;
	struct net_if *iface = get_iface_by_index(iface_index);

	iface_index = normalize_iface_index(iface_index);
	if (iface_index == PROXY_WIFI_IFACE_AP) {
		ctx = &ap_ctx;
	} else {
		ctx = &sta_ctx;
	}

	if (!iface) {
		LOG_WRN("WiFi iface %u not available", iface_index);
		return false;
	}

	if (*ctx) {
		return true;
	}

	return init_ctx(ctx, iface);
}

#if (RCP_ETH_TRACE_SUPPORT && (RCP_ETH_TRACE_RX || RCP_ETH_TRACE_TX))
static inline uint16_t be16(const uint8_t *p)
{
	return (uint16_t)((p[0] << 8) | p[1]);
}

static void mac_to_str(char *out, size_t out_sz, const uint8_t *m)
{
	snprintf(out, out_sz, "%02X:%02X:%02X:%02X:%02X:%02X", m[0], m[1], m[2], m[3], m[4], m[5]);
}

static void ip4_to_str(char *out, size_t out_sz, const uint8_t *ip)
{
	snprintf(out, out_sz, "%u.%u.%u.%u", ip[0], ip[1], ip[2], ip[3]);
}

// Prints only ARP / DHCP (UDP 67/68) / ICMP to reduce log size
static void log_eth_brief(const char *tag, const uint8_t *buf, size_t len)
{
	if (!buf || len < 14) {
		return;
	}

	const uint8_t *dst = &buf[0];
	const uint8_t *src = &buf[6];
	uint16_t ethertype = be16(&buf[12]);
	size_t l2off = 14;

	// Optional VLAN (0x8100) support
	if (ethertype == 0x8100 && len >= 18) {
		ethertype = be16(&buf[16]);
		l2off = 18;
	}

	// ARP
	if (ethertype == 0x0806) {
		if (len < l2off + 28) {
			return;
		}
		uint16_t op = be16(&buf[l2off + 6]);
		const uint8_t *sha = &buf[l2off + 8];
		const uint8_t *spa = &buf[l2off + 14];
		const uint8_t *tha = &buf[l2off + 18];
		const uint8_t *tpa = &buf[l2off + 24];

		char s_src[24], s_dst[24], s_sha[24], s_tha[24], s_spa[16], s_tpa[16];
		mac_to_str(s_src, sizeof s_src, src);
		mac_to_str(s_dst, sizeof s_dst, dst);
		mac_to_str(s_sha, sizeof s_sha, sha);
		mac_to_str(s_tha, sizeof s_tha, tha);
		ip4_to_str(s_spa, sizeof s_spa, spa);
		ip4_to_str(s_tpa, sizeof s_tpa, tpa);

		LOG_INF("[ETH] %s ARP op=%u eth %s->%s arp %s/%s -> %s/%s len=%u\n", tag, op, s_src,
			s_dst, s_sha, s_spa, s_tha, s_tpa, (unsigned)len);
		return;
	}

	// IPv4
	if (ethertype == 0x0800) {
		if (len < l2off + 20) {
			return;
		}
		uint8_t ihl = (buf[l2off] & 0x0F) * 4;
		if (ihl < 20 || len < l2off + ihl) {
			return;
		}

		uint8_t proto = buf[l2off + 9];
		const uint8_t *sip = &buf[l2off + 12];
		const uint8_t *dip = &buf[l2off + 16];

		// UDP header starts at l2off+ihl
		if (proto == 17 && len >= l2off + ihl + 8) {
			uint16_t sport = be16(&buf[l2off + ihl + 0]);
			uint16_t dport = be16(&buf[l2off + ihl + 2]);

			// DHCP traffic (67/68) is of interest
			if (!((sport == 67 || sport == 68) || (dport == 67 || dport == 68))) {
				return;
			}

			char s_src[24], s_dst[24], s_sip[16], s_dip[16];
			mac_to_str(s_src, sizeof s_src, src);
			mac_to_str(s_dst, sizeof s_dst, dst);
			ip4_to_str(s_sip, sizeof s_sip, sip);
			ip4_to_str(s_dip, sizeof s_dip, dip);

			LOG_INF("[ETH] %s UDP %s:%u -> %s:%u eth %s->%s len=%u\n", tag, s_sip,
				sport, s_dip, dport, s_src, s_dst, (unsigned)len);
			return;
		}

		// ICMP traffic (ping) is of interest
		if (proto == 1 && len >= l2off + ihl + 4) {
			uint8_t icmp_type = buf[l2off + ihl + 0];
			uint8_t icmp_code = buf[l2off + ihl + 1];

			char s_src[24], s_dst[24], s_sip[16], s_dip[16];
			mac_to_str(s_src, sizeof s_src, src);
			mac_to_str(s_dst, sizeof s_dst, dst);
			ip4_to_str(s_sip, sizeof s_sip, sip);
			ip4_to_str(s_dip, sizeof s_dip, dip);

			LOG_INF("[ETH] %s ICMP type=%u code=%u %s->%s eth %s->%s len=%u\n", tag,
				icmp_type, icmp_code, s_sip, s_dip, s_src, s_dst, (unsigned)len);
			return;
		}
	}
}
#endif /* RCP_ETH_TRACE_RX || RCP_ETH_TRACE_TX */

#if (RCP_ETH_TRACE_SUPPORT && RCP_ETH_TRACE_RX)
#define RCP_ETH_LOG_RX(tag, buf, len) log_eth_brief((tag), (buf), (len))
#else
#define RCP_ETH_LOG_RX(tag, buf, len)                                                              \
	do {                                                                                       \
	} while (0)
#endif

#if (RCP_ETH_TRACE_SUPPORT && RCP_ETH_TRACE_TX)
#define RCP_ETH_LOG_TX(tag, buf, len) log_eth_brief((tag), (buf), (len))
#else
#define RCP_ETH_LOG_TX(tag, buf, len)                                                              \
	do {                                                                                       \
	} while (0)
#endif

bool proxy_wifi_data_init(void)
{
	k_thread_stack_t *wifi_rx_stack;

	register_data_msg_handler(RCP_STREAM_WIFI_DATA, handle_data_msg);

#if (RCP_RX_MODE == RCP_RX_MODE_DIRECT)
	/* DIRECT: the wifi driver rx cb calls proxy_wifi_data_rx_direct() directly
	 * (extern); no AF_PACKET net_context, no rx_fifo, no wifi_rx_thread. */
	return true;
#else
	k_mutex_lock(&ctx_lock, K_FOREVER);
	(void)ensure_ctx_bound_locked(PROXY_WIFI_IFACE_STA);
	(void)ensure_ctx_bound_locked(PROXY_WIFI_IFACE_AP);
	k_mutex_unlock(&ctx_lock);

	if (wifi_rx_tid != NULL) {
		return true;
	}

	wifi_rx_stack = k_thread_stack_alloc(RX_THREAD_STACK_SIZE, 0);
	if (wifi_rx_stack == NULL) {
		LOG_ERR("Failed to allocate WiFi RX thread stack");
		return false;
	}

	wifi_rx_tid = k_thread_create(&wifi_rx_thread_data, wifi_rx_stack,
				      RX_THREAD_STACK_SIZE, wifi_rx_thread,
				      NULL, NULL, NULL, RX_THREAD_PRIO, 0, K_NO_WAIT);
	if (wifi_rx_tid == NULL) {
		LOG_ERR("Failed to create WiFi RX thread");
		return false;
	}

	k_thread_name_set(wifi_rx_tid, "wifi_rx");

	return true;
#endif /* RCP_RX_MODE */
}

static bool init_ctx(struct net_context **ctx, struct net_if *iface)
{
	int ret = 0;
	struct sockaddr_ll addr = {0};
	struct net_context *local = NULL;

	if (!iface) {
		LOG_ERR("Wi-Fi interface not found");
		return false;
	}

	ret = net_context_get(AF_PACKET, SOCK_RAW, ETH_P_ALL, &local);
	if (ret < 0) {
		LOG_ERR("Failed to get net_context: %d", ret);
		return false;
	}

	addr.sll_ifindex = net_if_get_by_iface(iface);
	addr.sll_family = AF_PACKET;
	addr.sll_protocol = htons(ETH_P_ALL);

	ret = net_context_bind(local, (const struct sockaddr *)&addr, sizeof(struct sockaddr_ll));
	if (ret < 0) {
		LOG_ERR("Failed to bind net_context: %d", ret);
		(void)net_context_put(local);
		return false;
	}

	ret = net_context_recv(local, wifi_rx_cb, K_NO_WAIT, NULL);
	if (ret < 0) {
		LOG_ERR("Failed to register RX callback: %d", ret);
		(void)net_context_put(local);
		return false;
	}

	*ctx = local;
	LOG_INF("WiFi data net_context bound ifindex=%d", addr.sll_ifindex);
	return true;
}

#if (RCP_TX_MODE == RCP_TX_MODE_DIRECT)
/* Experiment B: hand the frame straight to the WiFi driver's .send, bypassing
 * the socket / net_context / ethernet-L2 dispatch path. The driver .send is the
 * first member (ethernet_api at offset 0) of the device API.
 *
 * qwifi_drv_send() copies the frame into its own DPM TX buffer and does NOT
 * take ownership of the net_pkt (in the normal path the ethernet L2 unrefs it
 * after .send returns). Since we bypass L2, WE must unref the pkt ourselves —
 * on every path, success or failure — or the 16-entry TX pool leaks dry after
 * a few frames (net_pkt_alloc then returns -ENOMEM). */
static int wifi_tx_direct(struct net_if *iface, const uint8_t *frame, uint16_t len)
{
	const struct device *dev = net_if_get_device(iface);
	const struct ethernet_api *eth = dev ? dev->api : NULL;
	struct net_pkt *pkt;
	int ret;

	if (!eth || !eth->send) {
		return -ENOTSUP;
	}

	pkt = net_pkt_alloc_with_buffer(iface, len, AF_UNSPEC, 0, K_NO_WAIT);
	if (!pkt) {
		return -ENOMEM;
	}

	if (net_pkt_write(pkt, frame, len) < 0) {
		net_pkt_unref(pkt);
		return -EIO;
	}

	ret = eth->send(dev, pkt);
	net_pkt_unref(pkt);
	return ret;
}
#endif

/* Called from the RCP dispatcher context. */
static uint8_t handle_data_msg(enum rcp_rx_status status, rcp_buffer_hdl_t *payload_ptr,
			       rcp_error_info_t *)
{
	ARG_UNUSED(status);

	int ret = 0;
	uint8_t retries = WIFI_TX_RETRIES;
	uint8_t iface_index = PROXY_WIFI_IFACE_STA;
	const uint8_t *frame_ptr;
	uint16_t frame_len;
	int ifindex;
	struct net_context *ctx = NULL;

	if (!payload_ptr) {
		return RCP_RX_NO_ACTION;
	}

	frame_ptr = payload_ptr->data_ptr;
	frame_len = payload_ptr->size;

	if ((payload_ptr->size >= PROXY_WIFI_DATA_HDR_SIZE) &&
	    (payload_ptr->data_ptr[0] == PROXY_WIFI_DATA_HDR_VERSION)) {
		iface_index = normalize_iface_index(payload_ptr->data_ptr[1]);
		frame_ptr = &payload_ptr->data_ptr[PROXY_WIFI_DATA_HDR_SIZE];
		frame_len = payload_ptr->size - PROXY_WIFI_DATA_HDR_SIZE;
	}

	if ((iface_index != PROXY_WIFI_IFACE_STA) && (iface_index != PROXY_WIFI_IFACE_AP)) {
		LOG_WRN("TX: unsupported iface_index=%u", iface_index);
		return RCP_RX_NO_ACTION;
	}

	if (frame_len == 0U) {
		LOG_WRN("TX: empty Ethernet frame");
		return RCP_RX_NO_ACTION;
	}

	RCP_ETH_LOG_TX("MCU TX(host->wifi)", frame_ptr, frame_len);

	k_mutex_lock(&tx_lock, K_FOREVER);

#if (RCP_TX_MODE == RCP_TX_MODE_DIRECT)
	/* DIRECT: skip socket/net_context/L2 — call the driver .send. */
	ARG_UNUSED(retries);
	ARG_UNUSED(ctx);
	ARG_UNUSED(ifindex);
	{
		struct net_if *iface = get_iface_by_index(iface_index);

		if (!iface) {
			LOG_ERR("TX: iface %u not available", iface_index);
			k_mutex_unlock(&tx_lock);
			return RCP_RX_NO_ACTION;
		}
		ret = wifi_tx_direct(iface, frame_ptr, frame_len);
		if (ret < 0) {
			/* -EAGAIN here is the WiFi HW TX queue being transiently
			 * full (common when TCP ACKs stream back during high-rate
			 * RX). Harmless — TCP's cumulative ACK recovers — so log at
			 * debug level rather than error to avoid noise. */
			LOG_DBG("wifi_tx_direct failed: %d", ret);
		}
	}
#else /* RCP_TX_MODE_BLOCKING */
	k_mutex_lock(&ctx_lock, K_FOREVER);
	(void)ensure_ctx_bound_locked(iface_index);
	ctx = get_ctx_locked(iface_index);
	k_mutex_unlock(&ctx_lock);

	if (!ctx) {
		LOG_ERR("TX: net_context for iface %u not ready", iface_index);
		k_mutex_unlock(&tx_lock);
		return RCP_RX_NO_ACTION;
	}

	ifindex = get_ifindex_by_iface_index(iface_index);
	if (ifindex < 0) {
		LOG_ERR("TX: invalid ifindex for iface %u", iface_index);
		k_mutex_unlock(&tx_lock);
		return RCP_RX_NO_ACTION;
	}

	LOG_DBG("WiFi TX over ifindex=%d iface=%u len=%u", ifindex, iface_index, frame_len);

	struct sockaddr_ll dst = {
		.sll_ifindex = ifindex,
		.sll_family = AF_PACKET,
		.sll_protocol = htons(ETH_P_ALL),
	};

	do {
		k_sem_reset(&tx_sem);
		tx_status = 0;

		ret = net_context_sendto(ctx, frame_ptr, frame_len, (const struct sockaddr *)&dst,
					 sizeof(struct sockaddr_ll), wifi_tx_cb, K_NO_WAIT, NULL);
		if (ret < 0) {
			LOG_ERR("net_context_sendto failed: %d", ret);
			k_sleep(K_MSEC(RCP_TX_ERR_DELAY_MS));
			continue;
		}

		ret = k_sem_take(&tx_sem, K_MSEC(WIFI_TX_CB_TIMEOUT_MS));
		if (ret != 0) {
			LOG_ERR("TX callback timeout");
			/* Wait for completion to avoid overlap with next send. */
			(void)k_sem_take(&tx_sem, K_FOREVER);
		}

		if (tx_status >= 0) {
			break;
		}

		/* Delay a bit and retry TX to the driver. */
		LOG_DBG("Wi-Fi TX failed: %d", tx_status);
		k_sleep(K_MSEC(RCP_TX_ERR_DELAY_MS));
	} while (retries--);
#endif /* RCP_TX_MODE_DIRECT */

	k_mutex_unlock(&tx_lock);

	return RCP_RX_NO_ACTION;
}

static bool link_send_with_retries(rcp_buffer_hdl_t *msg_buffer)
{
	uint8_t retries = RCP_TX_RETRIES;
	link_result_t result = RCP_LNK_ERROR;

	do {
		result = link_send(RCP_STREAM_WIFI_DATA, msg_buffer);
		if (result != RCP_LNK_SUCCESS) {
			LOG_DBG("Failed to send WiFi data over link, retrying...");
			k_sleep(K_MSEC(RCP_TX_ERR_DELAY_MS));
		}
	} while (retries-- && (result != RCP_LNK_SUCCESS));

	return (result == RCP_LNK_SUCCESS);
}

#if (RCP_RX_MODE == RCP_RX_MODE_DIRECT)
/* RX DIRECT: called by the WiFi driver's rx callback (nt_wlan thread context)
 * with the raw Ethernet frame. Build the RCP WiFi-data frame in place and hand
 * it to link_send. The HAL frees `frame` right after we return, so we must copy
 * it out here (single copy, replacing net_pkt alloc + net_pkt_write +
 * net_pkt_read of the net-stack path). */
int proxy_wifi_data_rx_direct(uint8_t iface_idx, const uint8_t *frame, uint16_t len)
{
	rcp_buffer_hdl_t *msg_buffer;

	if ((len == 0U) || ((size_t)len + PROXY_WIFI_DATA_HDR_SIZE > RX_BUF_SIZE)) {
		return -1;
	}

	msg_buffer = get_buffer(RX_BUF_SIZE);
	if (!msg_buffer) {
		return -1;
	}

	msg_buffer->data_ptr[0] = PROXY_WIFI_DATA_HDR_VERSION;
	msg_buffer->data_ptr[1] = normalize_iface_index(iface_idx);
	memcpy(msg_buffer->data_ptr + PROXY_WIFI_DATA_HDR_SIZE, frame, len);
	msg_buffer->size = (uint16_t)(len + PROXY_WIFI_DATA_HDR_SIZE);

	RCP_ETH_LOG_RX("MCU RX(wifi->host)", msg_buffer->data_ptr + PROXY_WIFI_DATA_HDR_SIZE, len);

	if (!link_send_with_retries(msg_buffer)) {
		release_buffer(&msg_buffer);
		return -1;
	}
	return 0;
}
#endif /* RCP_RX_MODE_DIRECT */

/* Dedicated thread for WiFi -> host path. */
__attribute__((unused))
static void wifi_rx_thread(void *p1, void *p2, void *p3)
{
	ARG_UNUSED(p1);
	ARG_UNUSED(p2);
	ARG_UNUSED(p3);

	LOG_INF("RX thread started");

	while (true) {
		struct net_pkt *pkt = NULL;
		rcp_buffer_hdl_t *msg_buffer = NULL;
		size_t received = 0;
		struct net_if *iface = NULL;
		uint8_t iface_index = PROXY_WIFI_IFACE_STA;

		pkt = k_fifo_get(&rx_fifo, K_FOREVER);
		if (!pkt) {
			continue;
		}

		received = net_pkt_get_len(pkt);
		msg_buffer = get_buffer(RX_BUF_SIZE);
		if (!msg_buffer) {
			k_sleep(K_MSEC(RCP_TX_ERR_DELAY_MS));
			LOG_WRN("No buffer available for RX");
			net_pkt_unref(pkt);
			continue;
		}
		if ((received + PROXY_WIFI_DATA_HDR_SIZE) > msg_buffer->max_size) {
			LOG_ERR("RX packet too large: %zu", received);
			net_pkt_unref(pkt);
			release_buffer(&msg_buffer);
			continue;
		}

		iface = net_pkt_iface(pkt);
		iface_index = normalize_iface_index(get_iface_index_by_iface(iface));

		net_pkt_cursor_init(pkt);
		if (net_pkt_read(pkt, msg_buffer->data_ptr + PROXY_WIFI_DATA_HDR_SIZE, received) <
		    0) {
			LOG_ERR("Failed to read RX packet");
			net_pkt_unref(pkt);
			release_buffer(&msg_buffer);
			continue;
		}
		net_pkt_unref(pkt);

		msg_buffer->data_ptr[0] = PROXY_WIFI_DATA_HDR_VERSION;
		msg_buffer->data_ptr[1] = iface_index;
		msg_buffer->size = (uint16_t)(received + PROXY_WIFI_DATA_HDR_SIZE);

		RCP_ETH_LOG_RX("MCU RX(wifi->host)",
			       msg_buffer->data_ptr + PROXY_WIFI_DATA_HDR_SIZE, received);

		/* If the link is congested, link_send_with_retries will stall here,
		 * preventing the next recv() call and naturally backing up the WiFi
		 * driver's socket buffer - triggering WiFi-level flow control.
		 */
		if (!link_send_with_retries(msg_buffer)) {
			LOG_ERR("Failed to send WiFi data over link, dropping");
			release_buffer(&msg_buffer);
		}
	}
}

static void wifi_rx_cb(struct net_context *ctx, struct net_pkt *pkt, union net_ip_header *ip_hdr,
		       union net_proto_header *proto_hdr, int status, void *user_data)
{
	ARG_UNUSED(ctx);
	ARG_UNUSED(ip_hdr);
	ARG_UNUSED(proto_hdr);
	ARG_UNUSED(status);
	ARG_UNUSED(user_data);

	if (!pkt) {
		return;
	}

	k_fifo_put(&rx_fifo, pkt);
}

#if (RCP_TX_MODE == RCP_TX_MODE_BLOCKING)
static void wifi_tx_cb(struct net_context *ctx, int status, void *user_data)
{
	ARG_UNUSED(ctx);
	ARG_UNUSED(user_data);

	tx_status = status;
	k_sem_give(&tx_sem);
}
#endif
```

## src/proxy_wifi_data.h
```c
/*
 * Copyright (c) Qualcomm Technologies, Inc. and/or its subsidiaries.
 *
 * SPDX-License-Identifier: BSD-3-Clause-Clear
 */

#ifndef __PROXY_WIFI_DATA_H__
#define __PROXY_WIFI_DATA_H__

#include <stdbool.h>

#define PROXY_WIFI_IFACE_STA 1U
#define PROXY_WIFI_IFACE_AP  2U

#define PROXY_WIFI_DATA_HDR_VERSION 1U
#define PROXY_WIFI_DATA_HDR_SIZE    2U

bool proxy_wifi_data_init(void);

#endif
```

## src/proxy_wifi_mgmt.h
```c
/*
 * Copyright (c) Qualcomm Technologies, Inc. and/or its subsidiaries.
 *
 * SPDX-License-Identifier: BSD-3-Clause-Clear
 */

#ifndef __PROXY_WIFI_MGMT_H__
#define __PROXY_WIFI_MGMT_H__

#include <stdbool.h>

bool proxy_wifi_mgmt_init(void);

#endif
```

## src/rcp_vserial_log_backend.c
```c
/*
 * Copyright (c) Qualcomm Technologies, Inc. and/or its subsidiaries.
 *
 * SPDX-License-Identifier: BSD-3-Clause-Clear
 */

#include <stdbool.h>
#include <stddef.h>
#include <stdint.h>

#include <zephyr/device.h>
#include <zephyr/devicetree.h>
#include <zephyr/drivers/uart.h>
#include <zephyr/kernel.h>
#include <zephyr/logging/log_backend.h>
#include <zephyr/logging/log_backend_std.h>
#include <zephyr/logging/log_core.h>
#include <zephyr/logging/log_output.h>

#include <rcp_definitions.h>
#include <rcp_interface.h>

/*
 * Keep this backend self-contained so it does not depend on the VSerial driver
 * exposing a public header in every tree revision.
 */
int rcp_vserial_uart_write_port(uint8_t port, const uint8_t *data, size_t len,
				bool drop_when_busy);

#define RCP_VSERIAL_LOG_BACKOFF_MS 1000U

struct rcp_vserial_log_backend_ctx {
	uint8_t port;
	bool drop_when_busy;
	bool duplicate_to_console;
	bool panic;
	bool line_terminated;
	bool suppress_message;
	uint32_t log_format_current;
	uint32_t backoff_until_ms;
	const struct device *console_uart;
};

static int rcp_vserial_log_char_out(uint8_t *buf, size_t len, void *ctx_ptr);
static bool rcp_vserial_log_transport_ready(void);
static bool rcp_vserial_log_backend_in_backoff(
	const struct rcp_vserial_log_backend_ctx *ctx);
static void rcp_vserial_log_backend_enter_backoff(struct rcp_vserial_log_backend_ctx *ctx);

static uint8_t rcp_vserial_log_output_buf[CONFIG_QUALCOMM_RCP_APP_VSERIAL_LOG_LINE_MAX];
LOG_OUTPUT_DEFINE(rcp_vserial_log_output, rcp_vserial_log_char_out, rcp_vserial_log_output_buf,
		  sizeof(rcp_vserial_log_output_buf));

static struct rcp_vserial_log_backend_ctx rcp_vserial_log_ctx = {
	.port = CONFIG_QUALCOMM_RCP_APP_VSERIAL_LOG_PORT,
	.drop_when_busy = IS_ENABLED(CONFIG_QUALCOMM_RCP_APP_VSERIAL_LOG_DROP_WHEN_BUSY),
	.duplicate_to_console = IS_ENABLED(CONFIG_QUALCOMM_RCP_APP_VSERIAL_LOG_DUPLICATE_TO_PHYS_UART),
	.panic = false,
	.line_terminated = true,
	.suppress_message = false,
	.log_format_current = LOG_OUTPUT_TEXT,
	.backoff_until_ms = 0U,
	.console_uart = NULL,
};

static bool rcp_vserial_log_transport_ready(void)
{
	if (!link_is_initialized()) {
		return false;
	}

	/*
	 * Remote log transport is ready only after the host explicitly syncs the VSerial0
	 * data stream. This avoids repeated INIT_DATA ping-pong if the MCU tries to start
	 * the stream itself from within the logging path.
	 */
	return link_get_state(RCP_STREAM_VSERIAL0) == LINK_STATE_ACTIVE;
}

static bool rcp_vserial_log_backend_in_backoff(const struct rcp_vserial_log_backend_ctx *ctx)
{
	if ((ctx == NULL) || ctx->panic || (ctx->backoff_until_ms == 0U)) {
		return false;
	}

	return (int32_t)(k_uptime_get_32() - ctx->backoff_until_ms) < 0;
}

static void rcp_vserial_log_backend_enter_backoff(struct rcp_vserial_log_backend_ctx *ctx)
{
	if ((ctx == NULL) || ctx->panic) {
		return;
	}

	ctx->backoff_until_ms = k_uptime_get_32() + RCP_VSERIAL_LOG_BACKOFF_MS;
}

static int rcp_vserial_log_char_out(uint8_t *buf, size_t len, void *ctx_ptr)
{
	struct rcp_vserial_log_backend_ctx *ctx = ctx_ptr;
	int rc;
	bool vserial_ready;

	if ((ctx == NULL) || (buf == NULL) || (len == 0U)) {
		return (int)len;
	}

	vserial_ready = rcp_vserial_log_transport_ready() &&
		       !rcp_vserial_log_backend_in_backoff(ctx) &&
		       !ctx->suppress_message;

	/*
	 * Do not start emitting VSerial log traffic before host<->MCU runtime transport
	 * is active. The control stream alone is not enough because it does not drive the
	 * data-stream state machine to ACTIVE.
	 */
	if (vserial_ready) {
		rc = rcp_vserial_uart_write_port(ctx->port, buf, len,
						 ctx->drop_when_busy && !ctx->panic);
		if (rc < 0) {
			/*
			 * Logging must never compete with or destabilize the control/data path.
			 * When the shared transport is congested, stop mirroring for a short
			 * cooldown window and drop the rest of the current formatted message.
			 */
			ctx->suppress_message = true;
			rcp_vserial_log_backend_enter_backoff(ctx);
		}
	}

	if (ctx->duplicate_to_console && (ctx->console_uart != NULL) &&
	    device_is_ready(ctx->console_uart)) {
		for (size_t i = 0U; i < len; i++) {
			uart_poll_out(ctx->console_uart, buf[i]);
		}
	}

	ctx->line_terminated = (buf[len - 1U] == '\n');
	return (int)len;
}

static void rcp_vserial_log_backend_process(const struct log_backend *const backend,
					    union log_msg_generic *msg)
{
	struct rcp_vserial_log_backend_ctx *ctx = backend->cb->ctx;
	log_format_func_t log_output_func;
	uint32_t flags = log_backend_std_get_flags();
	uint8_t lf = '\n';

	if ((ctx == NULL) ||
	    (!ctx->duplicate_to_console &&
	     (!rcp_vserial_log_transport_ready() || rcp_vserial_log_backend_in_backoff(ctx)))) {
		return;
	}

	ctx->suppress_message = false;
	ctx->line_terminated = true;

	flags &= ~LOG_OUTPUT_FLAG_COLORS;
	flags |= LOG_OUTPUT_FLAG_CRLF_LFONLY;

	log_output_func = log_format_func_t_get(ctx->log_format_current);
	log_output_func(&rcp_vserial_log_output, &msg->log, flags);

	if (!ctx->line_terminated && !ctx->suppress_message) {
		(void)rcp_vserial_log_char_out(&lf, 1U, ctx);
	}
}

static void rcp_vserial_log_backend_panic(const struct log_backend *const backend)
{
	struct rcp_vserial_log_backend_ctx *ctx = backend->cb->ctx;

	ctx->panic = true;
	log_backend_std_panic(&rcp_vserial_log_output);
}

static void rcp_vserial_log_backend_init(const struct log_backend *const backend)
{
	struct rcp_vserial_log_backend_ctx *ctx = backend->cb->ctx;

	log_output_ctx_set(&rcp_vserial_log_output, (void *)ctx);

#if DT_HAS_CHOSEN(zephyr_console)
	ctx->console_uart = DEVICE_DT_GET(DT_CHOSEN(zephyr_console));
#endif
}

static int rcp_vserial_log_backend_format_set(const struct log_backend *const backend,
					      uint32_t log_type)
{
	struct rcp_vserial_log_backend_ctx *ctx = backend->cb->ctx;

	ctx->log_format_current = log_type;
	return 0;
}

static const struct log_backend_api rcp_vserial_log_backend_api = {
	.process = rcp_vserial_log_backend_process,
	.panic = rcp_vserial_log_backend_panic,
	.init = rcp_vserial_log_backend_init,
	.dropped = NULL,
	.format_set = rcp_vserial_log_backend_format_set,
};

LOG_BACKEND_DEFINE(rcp_vserial_log_backend, rcp_vserial_log_backend_api,
		   IS_ENABLED(CONFIG_QUALCOMM_RCP_APP_VSERIAL_LOG), (void *)&rcp_vserial_log_ctx);
```

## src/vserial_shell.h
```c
/*
 * Copyright (c) Qualcomm Technologies, Inc. and/or its subsidiaries.
 *
 * SPDX-License-Identifier: BSD-3-Clause-Clear
 */

#ifndef __VSERIAL_SHELL_H__
#define __VSERIAL_SHELL_H__

#ifdef __cplusplus
extern "C" {
#endif

void vserial_shell_init(void);

#ifdef __cplusplus
}
#endif

#endif /* __VSERIAL_SHELL_H__ */
```
